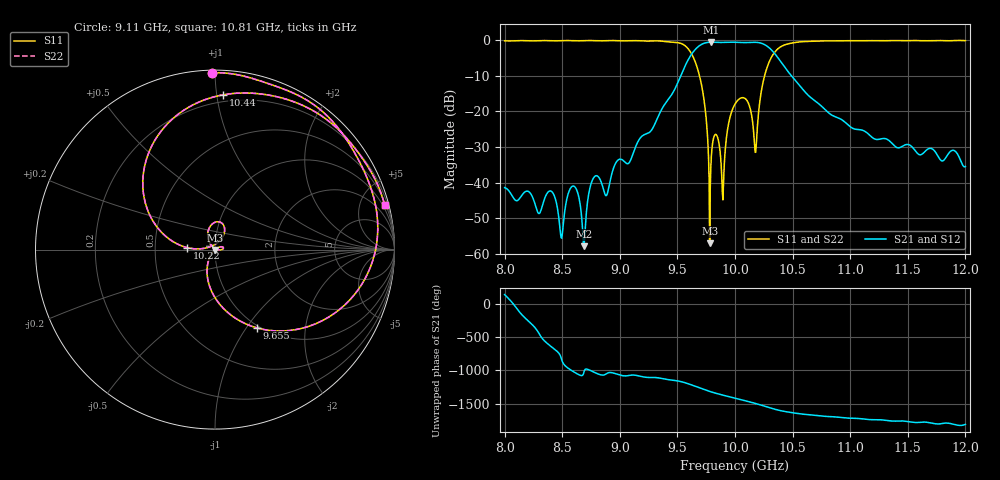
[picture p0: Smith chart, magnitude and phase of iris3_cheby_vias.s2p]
! 3rd-order iris (small vias), Chebyshev (base-paper dimensions)
! openEMS v0.37 FDTD, reciprocal & symmetric: S22=S11, S12=S21
# GHz S MA R 50
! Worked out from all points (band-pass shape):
!   801 points, 8 GHz to 12 GHz, reference 50 ohm
!   highest |S21| = -0.56 dB at 9.795 GHz (marker M1); lowest = -57.8 dB at 8.69 GHz (marker M2)
!   |S21| within 3 dB of the highest: 9.631 GHz to 10.34 GHz (708.6 MHz wide, 7.1 % of centre)
!   lowest |S11| = -56.9 dB at 9.78 GHz (marker M3), VSWR 1.00, Z = 49.9 - j0.131 ohm
!   |S11| at or under -10 dB: 9.692 GHz to 10.26 GHz (564.7 MHz wide, 5.66 % of centre)
!   |S22| runs from -56.9 to -0.1 dB; largest |S21 - S12| = 0
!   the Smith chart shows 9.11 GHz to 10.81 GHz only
!   S11 on the Smith chart (normalised r, x): 9.11 GHz: 0.02, +0.98; 9.655 GHz: 0.97, -1.13; 10.22 GHz: 0.73, +0.02; 10.44 GHz: 0.15, +1.04; 10.81 GHz: 0.69, +7.65
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8  0.9791 -132.9  0.008536 134.7  0.008536 134.7  0.9791 -132.9
8.495  0.9839 168.5  0.001667 -118.7  0.001667 -118.7  0.9839 168.5
8.6  0.9826 155.5  0.008961 55.6  0.008961 55.6  0.9826 155.5
8.67  0.9815 147.6  0.003098 -0.5  0.003098 -0.5  0.9815 147.6
8.69  0.984 145.2  0.001289 60.6  0.001289 60.6  0.984 145.2
8.775  0.9856 134.4  0.01189 51.5  0.01189 51.5  0.9856 134.4
9.11  0.9846 91.1  0.02428 7.9  0.02428 7.9  0.9846 91.1
9.335  0.9763 53.9  0.08622 -34.5  0.08622 -34.5  0.9763 53.9
9.53  0.901 2.0  0.32 -90.3  0.32 -90.3  0.901 2.0
9.655  0.4958 -61.7  0.7411 -161.1  0.7411 -161.1  0.4958 -61.7
9.78  0.001422 -113.2  0.936 122.3  0.936 122.3  0.001422 -113.2
9.795  0.02368 32.1  0.9374 114.2  0.9374 114.2  0.02368 32.1
9.835  0.04755 10.5  0.9331 93.9  0.9331 93.9  0.04755 10.5
9.9  0.009603 113.5  0.93 64.1  0.93 64.1  0.009603 113.5
10  0.1268 104.0  0.9355 19.8  0.9355 19.8  0.1268 104.0
10.175  0.02686 100.7  0.9339 -57.1  0.9339 -57.1  0.02686 100.7
10.22  0.1566 175.9  0.9138 -79.9  0.9138 -79.9  0.1566 175.9
10.435  0.863 87.1  0.41 -179.7  0.41 -179.7  0.863 87.1
10.67  0.9628 35.6  0.1509 128.2  0.1509 128.2  0.9628 35.6
10.81  0.9771 14.8  0.09629 105.4  0.09629 105.4  0.9771 14.8
11.335  0.9858 -45.0  0.03933 42.1  0.03933 42.1  0.9858 -45.0
12  0.9843 -109.4  0.01695 -12.7  0.01695 -12.7  0.9843 -109.4
